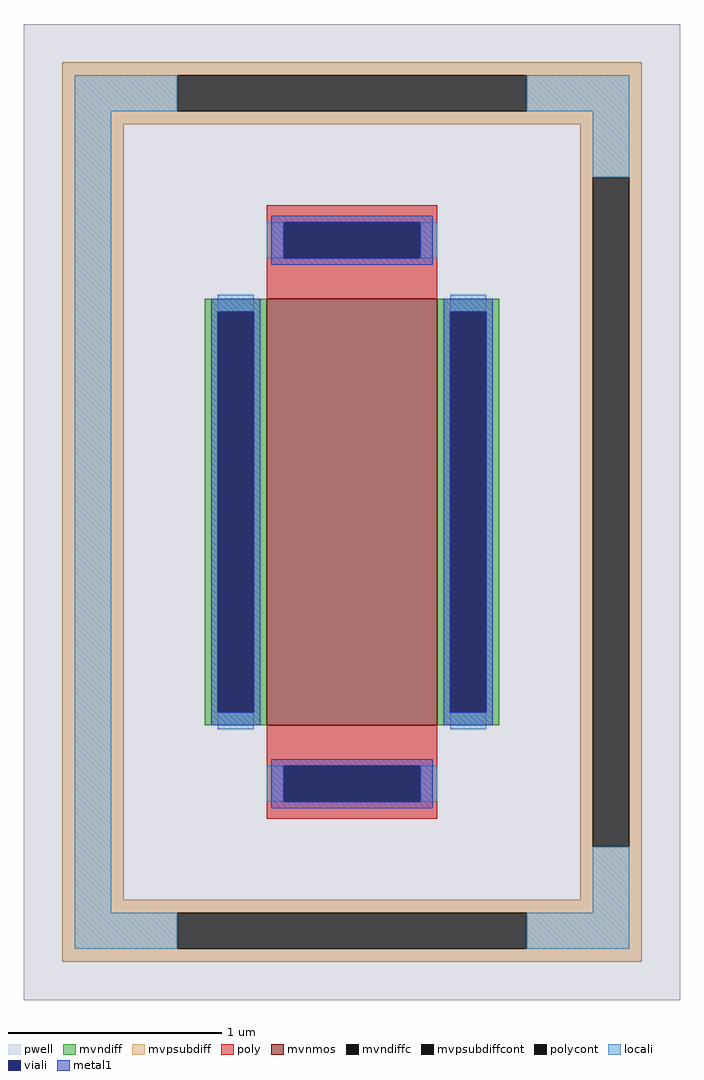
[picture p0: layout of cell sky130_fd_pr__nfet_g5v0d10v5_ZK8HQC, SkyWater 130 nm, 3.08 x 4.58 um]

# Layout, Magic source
magic
tech sky130A
<< pwell >>
rect -154 -229 154 229
<< mvnmos >>
rect -40 -100 40 100
<< mvndiff >>
rect -69 94 -40 100
rect -69 -94 -63 94
rect -46 -94 -40 94
rect -69 -100 -40 -94
rect 40 94 69 100
rect 40 -94 46 94
rect 63 -94 69 94
rect 40 -100 69 -94
<< mvndiffc >>
rect -63 -94 -46 94
rect 46 -94 63 94
<< mvpsubdiff >>
rect -136 205 136 211
rect -136 188 -82 205
rect 82 188 136 205
rect -136 182 136 188
rect -136 -182 -107 182
rect 107 157 136 182
rect 107 -157 113 157
rect 130 -157 136 157
rect 107 -182 136 -157
rect -136 -188 136 -182
rect -136 -205 -82 -188
rect 82 -205 136 -188
rect -136 -211 136 -205
<< mvpsubdiffcont >>
rect -82 188 82 205
rect 113 -157 130 157
rect -82 -205 82 -188
<< poly >>
rect -40 136 40 144
rect -40 119 -32 136
rect 32 119 40 136
rect -40 100 40 119
rect -40 -119 40 -100
rect -40 -136 -32 -119
rect 32 -136 40 -119
rect -40 -144 40 -136
<< polycont >>
rect -32 119 32 136
rect -32 -136 32 -119
<< locali >>
rect -130 188 -82 205
rect 82 188 130 205
rect -130 -188 -113 188
rect 113 157 130 188
rect -40 119 -32 136
rect 32 119 40 136
rect -63 94 -46 102
rect -63 -102 -46 -94
rect 46 94 63 102
rect 46 -102 63 -94
rect -40 -136 -32 -119
rect 32 -136 40 -119
rect 113 -188 130 -157
rect -130 -205 -82 -188
rect 82 -205 130 -188
<< viali >>
rect -32 119 32 136
rect -63 -94 -46 94
rect 46 -94 63 94
rect -32 -136 32 -119
<< metal1 >>
rect -38 136 38 139
rect -38 119 -32 136
rect 32 119 38 136
rect -38 116 38 119
rect -66 94 -43 100
rect -66 -94 -63 94
rect -46 -94 -43 94
rect -66 -100 -43 -94
rect 43 94 66 100
rect 43 -94 46 94
rect 63 -94 66 94
rect 43 -100 66 -94
rect -38 -119 38 -116
rect -38 -136 -32 -119
rect 32 -136 38 -119
rect -38 -139 38 -136
<< properties >>
string gencell sky130_fd_pr__nfet_g5v0d10v5
string FIXED_BBOX -121 -196 121 196
string parameters w 2.00 l 0.80 m 1 nf 1 diffcov 100 polycov 100 guard 1 glc 0 grc 1 gtc 1 gbc 1 tbcov 100 rlcov 100 topc 1 botc 1 poverlap 0 doverlap 1 lmin 0.50 wmin 0.42 compatible {sky130_fd_pr__nfet_01v8 sky130_fd_pr__nfet_01v8_lvt  sky130_fd_bs_flash__special_sonosfet_star  sky130_fd_pr__nfet_g5v0d10v5 sky130_fd_pr__nfet_05v0_nvt} full_metal 1 viasrc 100 viadrn 100 viagate 100 viagb 0 viagr 0 viagl 0 viagt 0
string library sky130
<< end >>
